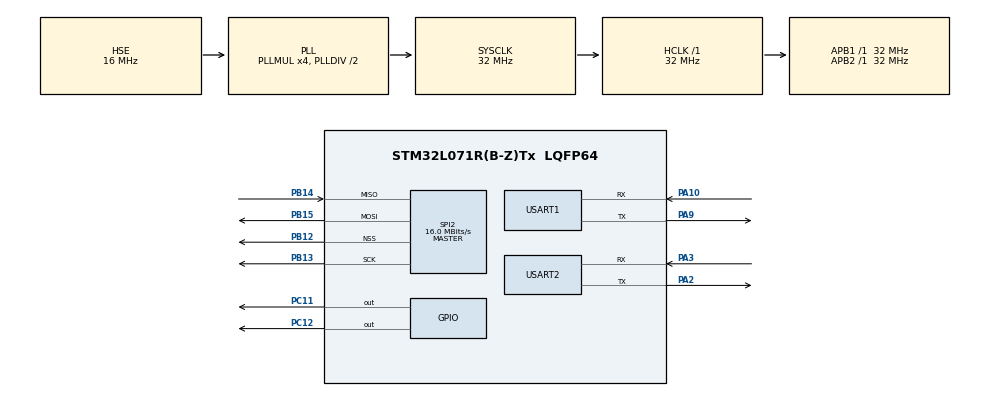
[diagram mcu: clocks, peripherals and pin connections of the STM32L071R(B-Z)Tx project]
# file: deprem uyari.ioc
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Mcu.Family=STM32L0
Mcu.Name=STM32L071R(B-Z)Tx
Mcu.Package=LQFP64
NVIC.TIM2_IRQn=true\:0\:0\:false\:false\:true\:true\:true
NVIC.USART1_IRQn=true\:0\:0\:false\:false\:true\:true\:true
PA10.Mode=Asynchronous
PA10.Signal=USART1_RX
PA2.Mode=Asynchronous
PA2.Signal=USART2_TX
PA3.Mode=Asynchronous
PA3.Signal=USART2_RX
PA9.Mode=Asynchronous
PA9.Signal=USART1_TX
PB12.Mode=NSS_Signal_Hard_Output
PB12.Signal=SPI2_NSS
PB13.Mode=Full_Duplex_Master
PB13.Signal=SPI2_SCK
PB14.Mode=Full_Duplex_Master
PB14.Signal=SPI2_MISO
PB15.Mode=Full_Duplex_Master
PB15.Signal=SPI2_MOSI
PC11.Signal=GPIO_Output
PC12.Signal=GPIO_Output
PH0-OSC_IN.Mode=HSE-External-Oscillator
PH0-OSC_IN.Signal=RCC_OSC_IN
PH1-OSC_OUT.Mode=HSE-External-Oscillator
PH1-OSC_OUT.Signal=RCC_OSC_OUT
ProjectManager.HeapSize=0x200
ProjectManager.StackSize=0x400
ProjectManager.TargetToolchain=STM32CubeIDE
RCC.AHBFreq_Value=32000000
RCC.APB1Freq_Value=32000000
RCC.APB1TimFreq_Value=32000000
RCC.APB2Freq_Value=32000000
RCC.APB2TimFreq_Value=32000000
RCC.HCLKFreq_Value=32000000
RCC.HSE_VALUE=16000000
RCC.HSI16_VALUE=16000000
RCC.HSI_VALUE=16000000
RCC.LSE_VALUE=32768
RCC.MSI_VALUE=2097000
RCC.PLLMUL=RCC_PLLMUL_4
RCC.PLLSourceVirtual=RCC_PLLSOURCE_HSE
RCC.SYSCLKFreq_VALUE=32000000
RCC.SYSCLKSource=RCC_SYSCLKSOURCE_PLLCLK
RCC.VCOOutputFreq_Value=64000000
SPI2.CalculateBaudRate=16.0 MBits/s
SPI2.Direction=SPI_DIRECTION_2LINES
SPI2.Mode=SPI_MODE_MASTER
SPI2.VirtualNSS=VM_NSSHARD
SPI2.VirtualType=VM_MASTER
TIM2.TIM_MasterOutputTrigger=TIM_TRGO_RESET
USART1.VirtualMode-Asynchronous=VM_ASYNC
USART2.VirtualMode-Asynchronous=VM_ASYNC
VP_TIM2_VS_ClockSourceINT.Mode=Internal
board=custom

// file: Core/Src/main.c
/* USER CODE BEGIN Header */
/**
  ******************************************************************************
  * @file           : main.c
  * @brief          : Main program body
  ******************************************************************************
  * @attention
  *
  * <h2><center>&copy; Copyright (c) 2020 STMicroelectronics.
  * All rights reserved.</center></h2>
  *
  * This software component is licensed by ST under BSD 3-Clause license,
  * the "License"; You may not use this file except in compliance with the
  * License. You may obtain a copy of the License at:
  *                        opensource.org/licenses/BSD-3-Clause
  *
  ******************************************************************************
  */
/* USER CODE END Header */

#include "main.h"

/* USER CODE BEGIN Includes */

#include "at_commands.h"
#include "bc95.h"
#include "bc95_work_functions.h"
#include "bma400.h"
#include "string.h"
#include "data_queue.h"

/* USER CODE END Includes */

SPI_HandleTypeDef hspi2;

TIM_HandleTypeDef htim2;

UART_HandleTypeDef huart1;
UART_HandleTypeDef huart2;

void SystemClock_Config(void);
static void MX_GPIO_Init(void);
static void MX_SPI2_Init(void);
static void MX_USART1_UART_Init(void);
static void MX_USART2_UART_Init(void);
static void MX_TIM2_Init(void);
/* USER CODE BEGIN PFP */
//void HAL_UART_RxCpltCallback(&huart2){
//
//
//
//}
void bc95_init();
/* USER CODE END PFP */

/* USER CODE BEGIN 0 */
struct bc95_dev *bc95;
int AT_READY_FLAG = 0;
int uartReady = 0;
char  rxBuf[180];
char parsedData[10][50];
int wordIndex = 0;
int charIndex = 0;
queue dataQueue;
char rxBuf_IT;
int  AT_Transmit_FLag = 0;
int AT_Waiting_Flag = 0;
int DATA_READY = 0;
int rx_callback_count = 0;
int timAbortCount = 0;
//char buffer1[14] = "AT+QLEDMODE=1";
char buffer1[4] = "ATI";
int rxIndex = 0;
int count = 0;
int rxcallbackCount = 0;
int abourtCount = 0;
HAL_StatusTypeDef gorkem = HAL_ERROR;

/* USER CODE END 0 */

int main(void)
{
  /* USER CODE BEGIN 1 */
    /* Init BMA400 */

  /* USER CODE END 1 */

  /* MCU Configuration--------------------------------------------------------*/

  /* Reset of all peripherals, Initializes the Flash interface and the Systick. */
  HAL_Init();

  /* USER CODE BEGIN Init */

  //bc95_at_start_check(bc95);
  /* USER CODE END Init */

  /* Configure the system clock */
  SystemClock_Config();

  /* Initialize all configured peripherals */
  MX_GPIO_Init();
  MX_SPI2_Init();
  MX_USART1_UART_Init();
  MX_USART2_UART_Init();
  MX_TIM2_Init();
  init_queue(&dataQueue);
  /* USER CODE BEGIN 2 */
  //bc95_init();
  //bma400_init();
  //1.Activate SPI line, make CS LOW
  //HAL_GPIO_WritePin(GPIOA,GPIO_PIN_5,GPIO_PIN_RESET);
  //2.Transmit register address

  //3.Read register data
  //HAL_UART_Receive_IT(&huart1,buffer,4);
  //4.Deactiviate SPI line, make CS HIGH
  //HAL_GPIO_WritePin(GPIOA,GPIO_PIN_5,GPIO_PIN_SET);
  /* USER CODE END 2 */

  /* Infinite loop */
  /* USER CODE BEGIN WHILE */
  HAL_UART_Receive_IT(&huart1,(uint8_t*)&rxBuf_IT,1);
  HAL_TIM_Base_Start_IT(&htim2);
//  HAL_GPIO_WritePin(GPIOC,GPIO_PIN_12,GPIO_PIN_SET);
//  HAL_Delay(3000);
//  HAL_GPIO_WritePin(GPIOC,GPIO_PIN_12,GPIO_PIN_RESET);
//  HAL_UART_Receive_IT(&huart1,buffer,4);
//  HAL_StatusTypeDef Mustafa = HAL_UART_Transmit(&huart1,buffer1,10,1000);
//  HAL_StatusTypeDef Mustafa = HAL_UART_Transmit(&huart1,buffer1,14,1000);
//  HAL_UART_Receive_IT(&huart1,buffer,4);
//  HAL_StatusTypeDef gORKEM = HAL_UART_Receive(&huart1,buffer,50,10000);
//  if(Mustafa == HAL_OK){
//      HAL_GPIO_WritePin(GPIOC,GPIO_PIN_12,GPIO_PIN_SET);
//      HAL_Delay(6000);
//      HAL_GPIO_WritePin(GPIOC,GPIO_PIN_12,GPIO_PIN_RESET);
//  }
//HAL_UART_Receive(&huart1,buffer,10,1000);
//HAL_GPIO_WritePin(GPIOC,GPIO_PIN_12,GPIO_PIN_SET);
//HAL_Delay(3000);
//HAL_GPIO_WritePin(GPIOC,GPIO_PIN_12,GPIO_PIN_RESET);
//  HAL_UART_RxCpltCallback(&huart1);

//HAL_Delay(3000);
  while (1)
  {
    /* USER CODE END WHILE */

    /* USER CODE BEGIN 3 */
      if(uartReady == 0){
          gorkem = HAL_UART_Receive_IT(&huart1,(uint8_t*)&rxBuf_IT,1);
      }

          uartReady = 1;
          if(gorkem == HAL_TIMEOUT){

          }

          //parsedData[wordIndex][charIndex] = dequeue(&dataQueue);
          //int temp2 = charIndex - 1;

//          if(parsedData[wordIndex][charIndex] == '\n' && parsedData[wordIndex][temp2] == '\r'){
//              //HAL_GPIO_TogglePin(GPIOC,GPIO_PIN_11);
//              charIndex = 0;
//              if(parsedData[wordIndex][0] == 'N' && parsedData[wordIndex][1] == 'e' && parsedData[wordIndex][2] == 'u' && parsedData[wordIndex][3] == 'l'){
//                  HAL_GPIO_TogglePin(GPIOC,GPIO_PIN_11);
//                  AT_READY_FLAG = 1;
//                  DATA_READY = 0;
//                  break;
//              }
//              ++wordIndex;
//              break;
//          }
//          ++charIndex;

  /* USER CODE END 3 */
}
}

  void HAL_UART_RxCpltCallback(UART_HandleTypeDef *huart){

      if(huart->Instance==USART1 ){

           enqueue(&dataQueue, rxBuf_IT);
           gorkem = HAL_UART_Receive_IT(&huart1,(uint8_t*)&rxBuf_IT, 1);
      }
  }

  void HAL_UART_TxCpltCallback(UART_HandleTypeDef *huart){

       // HAL_GPIO_TogglePin(GPIOC,GPIO_PIN_12);
      //gorkem = HAL_UART_GetState(&huart1);
        AT_Transmit_FLag = 0;

        AT_Waiting_Flag = 1;
        HAL_UART_Receive_IT(&huart1,(uint8_t*)&rxBuf_IT,1);
        ++count;
  }

  void HAL_UART_AbortReceiveCpltCallback(UART_HandleTypeDef *huart){

      if(huart->Instance==USART1 ){
          clear_queue(&dataQueue);

          gorkem = HAL_UART_GetState(&huart1);
          ++abourtCount;
          AT_Transmit_FLag = 1;
      }
  }

  void HAL_TIM_PeriodElapsedCallback(TIM_HandleTypeDef *htim){

      if(htim->Instance == TIM2){
          if((gorkem = HAL_UART_GetState(&huart1)) == HAL_UART_STATE_BUSY_RX && (AT_Waiting_Flag == 1 || AT_READY_FLAG == 1)){
              HAL_GPIO_TogglePin(GPIOC,GPIO_PIN_12);
              AT_Waiting_Flag = 0;
              ++timAbortCount;
              HAL_UART_AbortReceive_IT(&huart1);
          }

        //  HAL_GPIO_TogglePin(GPIOC,GPIO_PIN_12);
          HAL_TIM_Base_Start_IT(&htim2);
      }
  }
void SystemClock_Config(void)
{
  RCC_OscInitTypeDef RCC_OscInitStruct = {0};
  RCC_ClkInitTypeDef RCC_ClkInitStruct = {0};
  RCC_PeriphCLKInitTypeDef PeriphClkInit = {0};

  /** Configure the main internal regulator output voltage
  */
  __HAL_PWR_VOLTAGESCALING_CONFIG(PWR_REGULATOR_VOLTAGE_SCALE1);
  /** Initializes the CPU, AHB and APB busses clocks
  */
  RCC_OscInitStruct.OscillatorType = RCC_OSCILLATORTYPE_HSE;
  RCC_OscInitStruct.HSEState = RCC_HSE_ON;
  RCC_OscInitStruct.PLL.PLLState = RCC_PLL_ON;
  RCC_OscInitStruct.PLL.PLLSource = RCC_PLLSOURCE_HSE;
  RCC_OscInitStruct.PLL.PLLMUL = RCC_PLLMUL_4;
  RCC_OscInitStruct.PLL.PLLDIV = RCC_PLLDIV_2;
  if (HAL_RCC_OscConfig(&RCC_OscInitStruct) != HAL_OK)
  {
    Error_Handler();
  }
  /** Initializes the CPU, AHB and APB busses clocks
  */
  RCC_ClkInitStruct.ClockType = RCC_CLOCKTYPE_HCLK|RCC_CLOCKTYPE_SYSCLK
                              |RCC_CLOCKTYPE_PCLK1|RCC_CLOCKTYPE_PCLK2;
  RCC_ClkInitStruct.SYSCLKSource = RCC_SYSCLKSOURCE_PLLCLK;
  RCC_ClkInitStruct.AHBCLKDivider = RCC_SYSCLK_DIV1;
  RCC_ClkInitStruct.APB1CLKDivider = RCC_HCLK_DIV1;
  RCC_ClkInitStruct.APB2CLKDivider = RCC_HCLK_DIV1;

  if (HAL_RCC_ClockConfig(&RCC_ClkInitStruct, FLASH_LATENCY_1) != HAL_OK)
  {
    Error_Handler();
  }
  PeriphClkInit.PeriphClockSelection = RCC_PERIPHCLK_USART1|RCC_PERIPHCLK_USART2;
  PeriphClkInit.Usart1ClockSelection = RCC_USART1CLKSOURCE_PCLK2;
  PeriphClkInit.Usart2ClockSelection = RCC_USART2CLKSOURCE_PCLK1;
  if (HAL_RCCEx_PeriphCLKConfig(&PeriphClkInit) != HAL_OK)
  {
    Error_Handler();
  }
}

static void MX_SPI2_Init(void)
{

  /* SPI2 parameter configuration*/
  hspi2.Instance = SPI2;
  hspi2.Init.Mode = SPI_MODE_MASTER;
  hspi2.Init.Direction = SPI_DIRECTION_2LINES;
  hspi2.Init.DataSize = SPI_DATASIZE_8BIT;
  hspi2.Init.CLKPolarity = SPI_POLARITY_LOW;
  hspi2.Init.CLKPhase = SPI_PHASE_1EDGE;
  hspi2.Init.NSS = SPI_NSS_HARD_OUTPUT;
  hspi2.Init.BaudRatePrescaler = SPI_BAUDRATEPRESCALER_2;
  hspi2.Init.FirstBit = SPI_FIRSTBIT_MSB;
  hspi2.Init.TIMode = SPI_TIMODE_DISABLE;
  hspi2.Init.CRCCalculation = SPI_CRCCALCULATION_DISABLE;
  hspi2.Init.CRCPolynomial = 7;
  if (HAL_SPI_Init(&hspi2) != HAL_OK)
  {
    Error_Handler();
  }

}

static void MX_TIM2_Init(void)
{

  TIM_ClockConfigTypeDef sClockSourceConfig = {0};
  TIM_MasterConfigTypeDef sMasterConfig = {0};

  htim2.Instance = TIM2;
  htim2.Init.Prescaler = 31999;
  htim2.Init.CounterMode = TIM_COUNTERMODE_UP;
  htim2.Init.Period = 2999;
  htim2.Init.ClockDivision = TIM_CLOCKDIVISION_DIV1;
  htim2.Init.AutoReloadPreload = TIM_AUTORELOAD_PRELOAD_DISABLE;
  if (HAL_TIM_Base_Init(&htim2) != HAL_OK)
  {
    Error_Handler();
  }
  sClockSourceConfig.ClockSource = TIM_CLOCKSOURCE_INTERNAL;
  if (HAL_TIM_ConfigClockSource(&htim2, &sClockSourceConfig) != HAL_OK)
  {
    Error_Handler();
  }
  sMasterConfig.MasterOutputTrigger = TIM_TRGO_RESET;
  sMasterConfig.MasterSlaveMode = TIM_MASTERSLAVEMODE_DISABLE;
  if (HAL_TIMEx_MasterConfigSynchronization(&htim2, &sMasterConfig) != HAL_OK)
  {
    Error_Handler();
  }

}

static void MX_USART1_UART_Init(void)
{

  huart1.Instance = USART1;
  huart1.Init.BaudRate = 9600;
  huart1.Init.WordLength = UART_WORDLENGTH_8B;
  huart1.Init.StopBits = UART_STOPBITS_1;
  huart1.Init.Parity = UART_PARITY_NONE;
  huart1.Init.Mode = UART_MODE_TX_RX;
  huart1.Init.HwFlowCtl = UART_HWCONTROL_NONE;
  huart1.Init.OverSampling = UART_OVERSAMPLING_16;
  huart1.Init.OneBitSampling = UART_ONE_BIT_SAMPLE_DISABLE;
  huart1.AdvancedInit.AdvFeatureInit = UART_ADVFEATURE_NO_INIT;
  if (HAL_UART_Init(&huart1) != HAL_OK)
  {
    Error_Handler();
  }

}

static void MX_USART2_UART_Init(void)
{

  huart2.Instance = USART2;
  huart2.Init.BaudRate = 115200;
  huart2.Init.WordLength = UART_WORDLENGTH_8B;
  huart2.Init.StopBits = UART_STOPBITS_1;
  huart2.Init.Parity = UART_PARITY_NONE;
  huart2.Init.Mode = UART_MODE_TX_RX;
  huart2.Init.HwFlowCtl = UART_HWCONTROL_NONE;
  huart2.Init.OverSampling = UART_OVERSAMPLING_16;
  huart2.Init.OneBitSampling = UART_ONE_BIT_SAMPLE_DISABLE;
  huart2.AdvancedInit.AdvFeatureInit = UART_ADVFEATURE_NO_INIT;
  if (HAL_UART_Init(&huart2) != HAL_OK)
  {
    Error_Handler();
  }

}

static void MX_GPIO_Init(void)
{
  GPIO_InitTypeDef GPIO_InitStruct = {0};

  /* GPIO Ports Clock Enable */
  __HAL_RCC_GPIOH_CLK_ENABLE();
  __HAL_RCC_GPIOA_CLK_ENABLE();
  __HAL_RCC_GPIOB_CLK_ENABLE();
  __HAL_RCC_GPIOC_CLK_ENABLE();

  /*Configure GPIO pin Output Level */
  HAL_GPIO_WritePin(GPIOC, GPIO_PIN_11|GPIO_PIN_12, GPIO_PIN_RESET);

  /*Configure GPIO pins : PC11 PC12 */
  GPIO_InitStruct.Pin = GPIO_PIN_11|GPIO_PIN_12;
  GPIO_InitStruct.Mode = GPIO_MODE_OUTPUT_PP;
  GPIO_InitStruct.Pull = GPIO_NOPULL;
  GPIO_InitStruct.Speed = GPIO_SPEED_FREQ_LOW;
  HAL_GPIO_Init(GPIOC, &GPIO_InitStruct);

}

/* USER CODE BEGIN 4 */

void bma400_init(){

      /* BMA400 INTERFACE */

      bma400_dev* bma400ptr = NULL;

      bma400_sensor_data bma400SensorData = {0};
//      bma400SensorData.sensortime = 0;
//      bma400SensorData.x = 0;
//      bma400SensorData.y = 0;
//      bma400SensorData.z = 0;
      set_bma400_interface(BMA400_SPI_INTF, bma400ptr);
      bma400ptr->intf_ptr = &hspi2;

      fill_bma400_config_params(bma400ptr);

 }

//HAL_UART_ErrorCallback(UART_HandleTypeDef *huart){
//
//
//    HAL_GPIO_WritePin(GPIOC,GPIO_PIN_12,GPIO_PIN_SET);
//    HAL_Delay(3000);
//    HAL_GPIO_WritePin(GPIOC,GPIO_PIN_12,GPIO_PIN_RESET);
//
//}

void bc95_init(){

    struct bc95_dev * bc95ptr = NULL;

    init_bc95_interface(bc95ptr,huart1);

    bc95_at_start_check(bc95ptr);

}

void init_bc95_interface(struct bc95_dev * bc95, UART_HandleTypeDef intfPointer){

    bc95->intf_ptr = intfPointer;
    bc95->write = uart_register_write;
    bc95->read = &uart_register_read;
//    bc95->read_it = uart_register_read_it;

}

/* USER CODE END 4 */

void Error_Handler(void)
{
}

/************************ (C) COPYRIGHT STMicroelectronics *****END OF FILE****/
